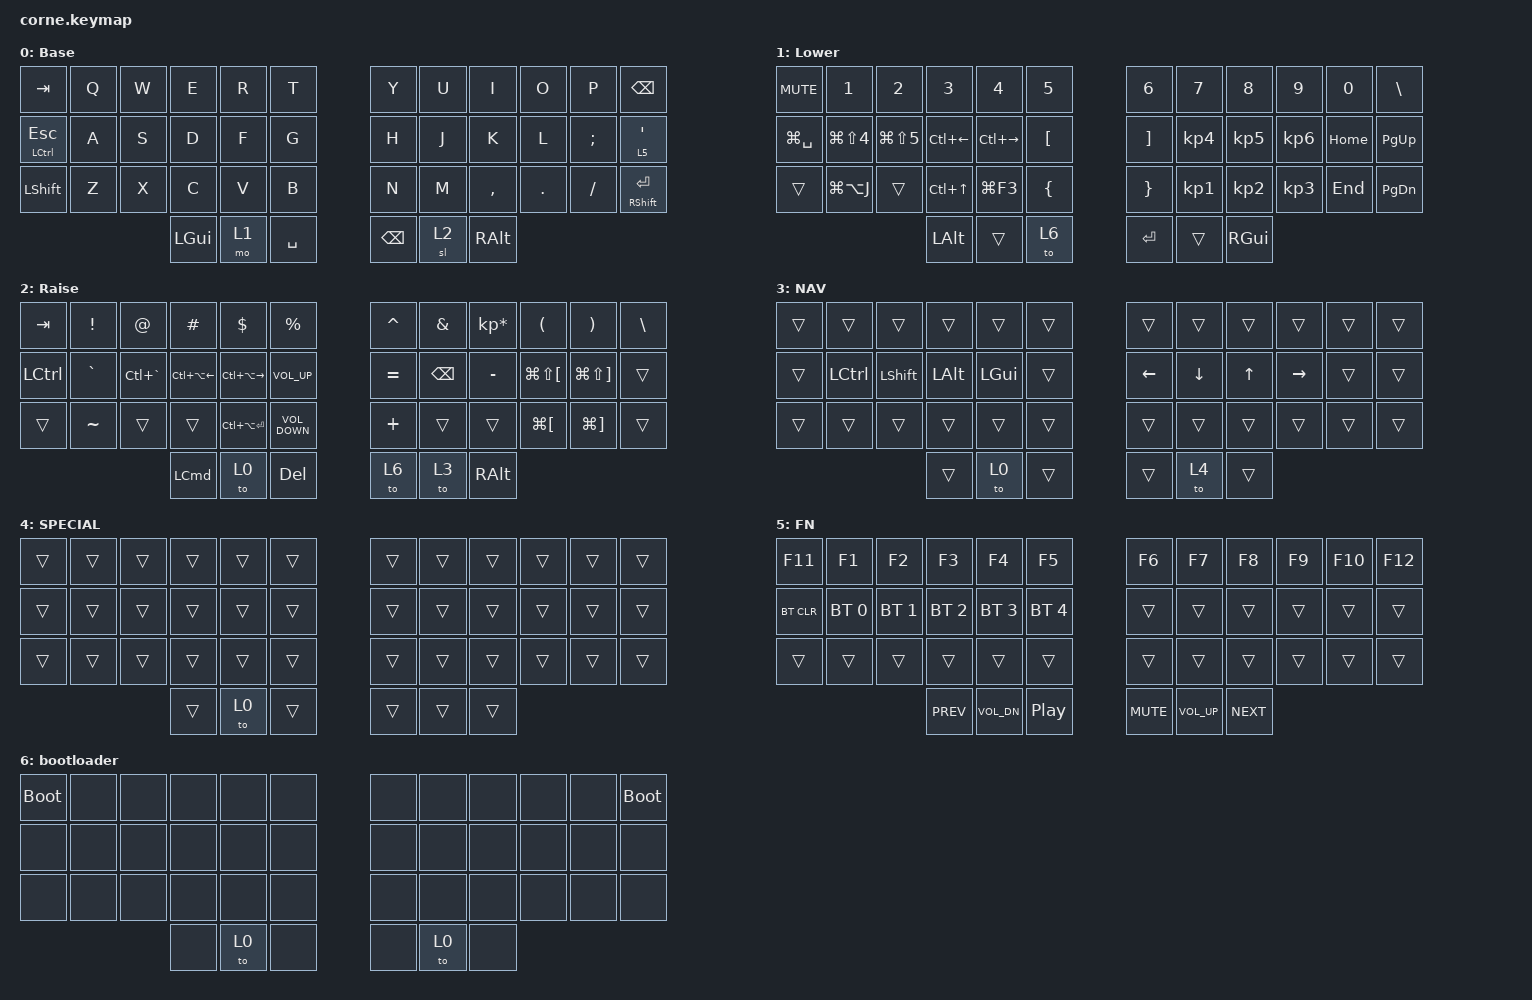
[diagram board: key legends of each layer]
/*
 * Copyright (c) 2020 The ZMK Contributors
 *
 * SPDX-License-Identifier: MIT
 */

#include <behaviors.dtsi>
#include <dt-bindings/zmk/bt.h>
#include <dt-bindings/zmk/keys.h>

/ {
    keymap {
        compatible = "zmk,keymap";

        default_layer {
            // -----------------------------------------------------------------------------------------
            // |  TAB |  Q  |  W  |  E  |  R  |  T  |   |  Y  |  U   |  I  |  O  |  P  | BKSP |
            // | CTRL |  A  |  S  |  D  |  F  |  G  |   |  H  |  J   |  K  |  L  |  ;  |  '   |
            // | SHFT |  Z  |  X  |  C  |  V  |  B  |   |  N  |  M   |  ,  |  .  |  /  | ESC  |
            //                    | GUI | LWR | SPC |   | ENT | RSE  | ALT |

            display-name = "Base";
            bindings = <
&kp TAB           &kp Q  &kp W  &kp E     &kp R  &kp T        &kp Y          &kp U  &kp I      &kp O    &kp P     &kp BACKSPACE
&mt LCTRL ESCAPE  &kp A  &kp S  &kp D     &kp F  &kp G        &kp H          &kp J  &kp K      &kp L    &kp SEMI  &lt 5 SQT
&kp LSHFT         &kp Z  &kp X  &kp C     &kp V  &kp B        &kp N          &kp M  &kp COMMA  &kp DOT  &kp FSLH  &mt RIGHT_SHIFT ENTER
                                &kp LGUI  &mo 1  &kp SPACE    &kp BACKSPACE  &sl 2  &kp RALT
            >;
        };

        lower_layer {
            // -----------------------------------------------------------------------------------------
            // |  TAB |  1  |  2  |  3  |  4  |  5  |   |  6  |  7  |  8  |  9  |  0  | BKSP |
            // | BTCLR| BT1 | BT2 | BT3 | BT4 | BT5 |   | LFT | DWN |  UP | RGT |     |      |
            // | SHFT |     |     |     |     |     |   |     |     |     |     |     |      |
            //                    | GUI |     | SPC |   | ENT |     | ALT |

            display-name = "Lower";
            bindings = <
&kp C_MUTE     &kp N1                &kp N2          &kp N3              &kp N4               &kp N5              &kp N6             &kp N7     &kp N8         &kp N9     &kp N0    &kp BACKSLASH
&kp LG(SPACE)  &kp LG(LS(NUMBER_4))  &kp LG(LS(N5))  &kp LC(LEFT_ARROW)  &kp LC(RIGHT_ARROW)  &kp LEFT_BRACKET    &kp RIGHT_BRACKET  &kp KP_N4  &kp KP_N5      &kp KP_N6  &kp HOME  &kp PAGE_UP
&trans         &kp LG(LA(J))         &trans          &kp LC(UP_ARROW)    &kp LG(F3)           &kp LEFT_BRACE      &kp RIGHT_BRACE    &kp KP_N1  &kp KP_N2      &kp KP_N3  &kp END   &kp PAGE_DOWN
                                                     &kp LEFT_ALT        &trans               &to 6               &kp ENTER          &trans     &kp RIGHT_GUI
            >;
        };

        raise_layer {
            // -----------------------------------------------------------------------------------------
            // |  TAB |  !  |  @  |  #  |  $  |  %  |   |  ^  |  &  |  *  |  (  |  )  | BKSP |
            // | CTRL |     |     |     |     |     |   |  -  |  =  |  [  |  ]  |  \  |  `   |
            // | SHFT |     |     |     |     |     |   |  _  |  +  |  {  |  }  | "|" |  ~   |
            //                    | GUI |     | SPC |   | ENT |     | ALT |

            display-name = "Raise";
            bindings = <
&kp TAB    &kp EXCL   &kp AT         &kp HASH          &kp DLLR           &kp PRCNT            &kp CARET  &kp AMPS       &kp KP_MULTIPLY  &kp LPAR                  &kp RPAR                   &kp BACKSLASH
&kp LCTRL  &kp GRAVE  &kp LC(GRAVE)  &kp LC(LA(LEFT))  &kp LC(LA(RIGHT))  &kp C_VOLUME_UP      &kp EQUAL  &kp BACKSPACE  &kp MINUS        &kp LG(LS(LEFT_BRACKET))  &kp LG(LS(RIGHT_BRACKET))  &trans
&trans     &kp TILDE  &trans         &trans            &kp LC(LA(ENTER))  &kp C_VOLUME_DOWN    &kp PLUS   &trans         &trans           &kp LG(LEFT_BRACKET)      &kp LG(RIGHT_BRACKET)      &trans
                                     &kp LEFT_COMMAND  &to 0              &kp DEL              &to 6      &to 3          &kp RIGHT_ALT
            >;
        };

        nav_layer {
            display-name = "NAV";
            bindings = <
&trans  &trans            &trans          &trans        &trans        &trans    &trans          &trans    &trans        &trans     &trans  &trans
&trans  &kp LEFT_CONTROL  &kp LEFT_SHIFT  &kp LEFT_ALT  &kp LEFT_GUI  &trans    &kp LEFT_ARROW  &kp DOWN  &kp UP_ARROW  &kp RIGHT  &trans  &trans
&trans  &trans            &trans          &trans        &trans        &trans    &trans          &trans    &trans        &trans     &trans  &trans
                                          &trans        &to 0         &trans    &trans          &to 4     &trans
            >;
        };

        special {
            display-name = "SPECIAL";
            bindings = <
&trans  &trans  &trans  &trans  &trans  &trans    &trans  &trans  &trans  &trans  &trans  &trans
&trans  &trans  &trans  &trans  &trans  &trans    &trans  &trans  &trans  &trans  &trans  &trans
&trans  &trans  &trans  &trans  &trans  &trans    &trans  &trans  &trans  &trans  &trans  &trans
                        &trans  &to 0   &trans    &trans  &trans  &trans
            >;
        };

        fn_layer {
            display-name = "FN";
            bindings = <
&kp F11     &kp F1        &kp F2        &kp F3        &kp F4        &kp F5              &kp F6      &kp F7           &kp F8      &kp F9  &kp F10  &kp F12
&bt BT_CLR  &bt BT_SEL 0  &bt BT_SEL 1  &bt BT_SEL 2  &bt BT_SEL 3  &bt BT_SEL 4        &trans      &trans           &trans      &trans  &trans   &trans
&trans      &trans        &trans        &trans        &trans        &trans              &trans      &trans           &trans      &trans  &trans   &trans
                                        &kp C_PREV    &kp C_VOL_DN  &kp C_PLAY_PAUSE    &kp C_MUTE  &kp C_VOLUME_UP  &kp C_NEXT
            >;
        };

        bootloader {
            bindings = <
&bootloader  &none  &none  &none  &none  &none    &none  &none  &none  &none  &none  &bootloader
&none        &none  &none  &none  &none  &none    &none  &none  &none  &none  &none  &none
&none        &none  &none  &none  &none  &none    &none  &none  &none  &none  &none  &none
                           &none  &to 0  &none    &none  &to 0  &none
            >;
        };
    };
};
